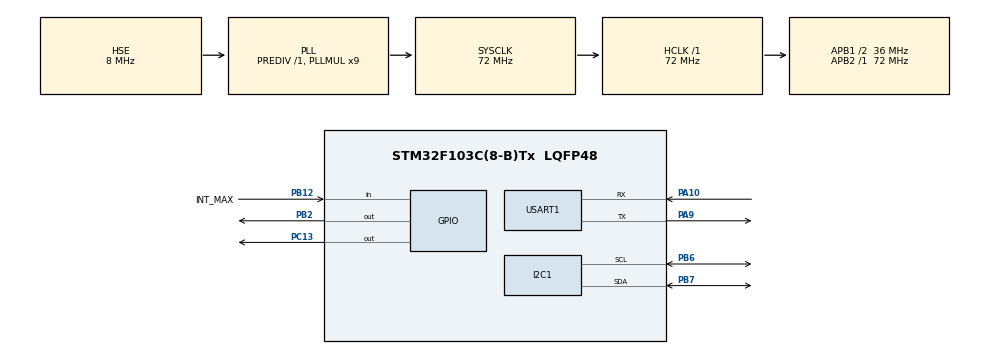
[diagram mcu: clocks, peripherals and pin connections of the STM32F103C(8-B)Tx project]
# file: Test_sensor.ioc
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FREERTOS.Tasks01=defaultTask,24,128,StartDefaultTask,Default,NULL,Dynamic,NULL,NULL;Sensor,24,128,Sensor_task,Default,NULL,Dynamic,NULL,NULL
FREERTOS.Timers01=Basic_timer,Timer_Callback,osTimerPeriodic,Default,NULL,Dynamic,NULL
FREERTOS.configUSE_NEWLIB_REENTRANT=1
I2C1.I2C_Mode=I2C_Fast
Mcu.Family=STM32F1
Mcu.Name=STM32F103C(8-B)Tx
Mcu.Package=LQFP48
NVIC.PriorityGroup=NVIC_PRIORITYGROUP_4
NVIC.TIM1_UP_IRQn=true\:15\:0\:false\:false\:true\:false\:false\:true\:true
NVIC.TimeBase=TIM1_UP_IRQn
NVIC.TimeBaseIP=TIM1
PA0-WKUP.Mode=SYS_WakeUp0
PA0-WKUP.Signal=SYS_WKUP
PA10.Mode=Asynchronous
PA10.Signal=USART1_RX
PA13.Mode=Serial_Wire
PA13.Signal=SYS_JTMS-SWDIO
PA14.Mode=Serial_Wire
PA14.Signal=SYS_JTCK-SWCLK
PA9.Mode=Asynchronous
PA9.Signal=USART1_TX
PB12.GPIO_Label=INT_MAX
PB12.GPIO_PuPd=GPIO_PULLUP
PB12.Signal=GPIO_Input
PB2.Signal=GPIO_Output
PB6.Mode=I2C
PB6.Signal=I2C1_SCL
PB7.Mode=I2C
PB7.Signal=I2C1_SDA
PC13-TAMPER-RTC.Signal=GPIO_Output
PD0-OSC_IN.Mode=HSE-External-Oscillator
PD0-OSC_IN.Signal=RCC_OSC_IN
PD1-OSC_OUT.Mode=HSE-External-Oscillator
PD1-OSC_OUT.Signal=RCC_OSC_OUT
ProjectManager.HeapSize=0x200
ProjectManager.StackSize=0x400
ProjectManager.TargetToolchain=STM32CubeIDE
RCC.AHBFreq_Value=72000000
RCC.APB1CLKDivider=RCC_HCLK_DIV2
RCC.APB1Freq_Value=36000000
RCC.APB1TimFreq_Value=72000000
RCC.APB2Freq_Value=72000000
RCC.APB2TimFreq_Value=72000000
RCC.HCLKFreq_Value=72000000
RCC.PLLMUL=RCC_PLL_MUL9
RCC.PLLSourceVirtual=RCC_PLLSOURCE_HSE
RCC.SYSCLKFreq_VALUE=72000000
RCC.SYSCLKSource=RCC_SYSCLKSOURCE_PLLCLK
RCC.USBFreq_Value=72000000
USART1.VirtualMode=VM_ASYNC
VP_FREERTOS_VS_CMSIS_V2.Mode=CMSIS_V2
VP_SYS_VS_tim1.Mode=TIM1
board=custom

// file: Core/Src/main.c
/* USER CODE BEGIN Header */
/**
  ******************************************************************************
  * @file           : main.c
  * @brief          : Main program body
  ******************************************************************************
  * @attention
  *
  * Copyright (c) 2023 STMicroelectronics.
  * All rights reserved.
  *
  * This software is licensed under terms that can be found in the LICENSE file
  * in the root directory of this software component.
  * If no LICENSE file comes with this software, it is provided AS-IS.
  *
  ******************************************************************************
  */
/* USER CODE END Header */
#include "main.h"
#include "cmsis_os.h"
#include "i2c.h"
#include "usart.h"
#include "gpio.h"

/* USER CODE BEGIN Includes */
#include "max30102.h"
/* USER CODE END Includes */

void SystemClock_Config(void);
void MX_FREERTOS_Init(void);

int main(void)
{

  /* MCU Configuration--------------------------------------------------------*/

  /* Reset of all peripherals, Initializes the Flash interface and the Systick. */
  HAL_Init();

  /* Configure the system clock */
  SystemClock_Config();

  /* Initialize all configured peripherals */
  MX_GPIO_Init();
  MX_I2C1_Init();
  MX_USART1_UART_Init();

  /* Init scheduler */
  osKernelInitialize();  /* Call init function for freertos objects (in freertos.c) */
  MX_FREERTOS_Init();

  /* Start scheduler */
  osKernelStart();
  /* We should never get here as control is now taken by the scheduler */
  /* Infinite loop */
  while (1)
  {

  }
}

void SystemClock_Config(void)
{
  RCC_OscInitTypeDef RCC_OscInitStruct = {0};
  RCC_ClkInitTypeDef RCC_ClkInitStruct = {0};

  /** Initializes the RCC Oscillators according to the specified parameters
  * in the RCC_OscInitTypeDef structure.
  */
  RCC_OscInitStruct.OscillatorType = RCC_OSCILLATORTYPE_HSE;
  RCC_OscInitStruct.HSEState = RCC_HSE_ON;
  RCC_OscInitStruct.HSEPredivValue = RCC_HSE_PREDIV_DIV1;
  RCC_OscInitStruct.HSIState = RCC_HSI_ON;
  RCC_OscInitStruct.PLL.PLLState = RCC_PLL_ON;
  RCC_OscInitStruct.PLL.PLLSource = RCC_PLLSOURCE_HSE;
  RCC_OscInitStruct.PLL.PLLMUL = RCC_PLL_MUL9;
  if (HAL_RCC_OscConfig(&RCC_OscInitStruct) != HAL_OK)
  {
    Error_Handler();
  }

  /** Initializes the CPU, AHB and APB buses clocks
  */
  RCC_ClkInitStruct.ClockType = RCC_CLOCKTYPE_HCLK|RCC_CLOCKTYPE_SYSCLK
                              |RCC_CLOCKTYPE_PCLK1|RCC_CLOCKTYPE_PCLK2;
  RCC_ClkInitStruct.SYSCLKSource = RCC_SYSCLKSOURCE_PLLCLK;
  RCC_ClkInitStruct.AHBCLKDivider = RCC_SYSCLK_DIV1;
  RCC_ClkInitStruct.APB1CLKDivider = RCC_HCLK_DIV2;
  RCC_ClkInitStruct.APB2CLKDivider = RCC_HCLK_DIV1;

  if (HAL_RCC_ClockConfig(&RCC_ClkInitStruct, FLASH_LATENCY_2) != HAL_OK)
  {
    Error_Handler();
  }
}

void HAL_TIM_PeriodElapsedCallback(TIM_HandleTypeDef *htim)
{
  if (htim->Instance == TIM1) {
    HAL_IncTick();
  }
}

void Error_Handler(void)
{
  __disable_irq();
  while (1)
  {
  }
}

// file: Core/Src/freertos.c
/* USER CODE BEGIN Header */
/**
  ******************************************************************************
  * File Name          : freertos.c
  * Description        : Code for freertos applications
  ******************************************************************************
  * @attention
  *
  * Copyright (c) 2023 STMicroelectronics.
  * All rights reserved.
  *
  * This software is licensed under terms that can be found in the LICENSE file
  * in the root directory of this software component.
  * If no LICENSE file comes with this software, it is provided AS-IS.
  *
  ******************************************************************************
  */
/* USER CODE END Header */

#include "FreeRTOS.h"
#include "task.h"
#include "main.h"
#include "cmsis_os.h"

/* USER CODE BEGIN Includes */
#include "i2c.h"
#include "max30102.h"
#include "usart.h"
#include "dht11.h"
#include <stdio.h>
#include <string.h>
#include <stdbool.h>
/* USER CODE END Includes */

/* USER CODE BEGIN Variables */

char *TxBuffer;
char str[80];
/* USER CODE END Variables */
/* Definitions for defaultTask */
osThreadId_t defaultTaskHandle;
const osThreadAttr_t defaultTask_attributes = {
  .name = "defaultTask",
  .stack_size = 128 * 4,
  .priority = (osPriority_t) osPriorityNormal,
};
/* Definitions for Sensor */
osThreadId_t SensorHandle;
const osThreadAttr_t Sensor_attributes = {
  .name = "Sensor",
  .stack_size = 128 * 4,
  .priority = (osPriority_t) osPriorityNormal,
};
/* Definitions for Basic_timer */
osTimerId_t Basic_timerHandle;
const osTimerAttr_t Basic_timer_attributes = {
  .name = "Basic_timer"
};

void StartDefaultTask(void *argument);
void Sensor_task(void *argument);
void Timer_Callback(void *argument);

void MX_FREERTOS_Init(void); /* (MISRA C 2004 rule 8.1) */

void MX_FREERTOS_Init(void) {

  /* Create the timer(s) */
  /* creation of Basic_timer */
  Basic_timerHandle = osTimerNew(Timer_Callback, osTimerPeriodic, NULL, &Basic_timer_attributes);

  /* Create the thread(s) */
  /* creation of defaultTask */
  defaultTaskHandle = osThreadNew(StartDefaultTask, NULL, &defaultTask_attributes);

  /* creation of Sensor */
  SensorHandle = osThreadNew(Sensor_task, NULL, &Sensor_attributes);

}

void StartDefaultTask(void *argument)
{
  /* USER CODE BEGIN StartDefaultTask */
	TxBuffer = "Default_here\r\n";
  /* Infinite loop */
  for(;;)
  {
	  HAL_GPIO_TogglePin(GPIOB, GPIO_PIN_2);
    		osDelay(1000);
  }
  /* USER CODE END StartDefaultTask */
}

void Sensor_task(void *argument)
{
  /* USER CODE BEGIN Sensor_task */
	DHT_DataTypedef DHT;
	uint32_t temp = 0;
	uint32_t humid = 0;
	char str[50];;
  /* Infinite loop */
  for(;;)
  {
	  DHT_GetData(&DHT);
	  temp = (uint32_t) DHT.Temperature;
	  sprintf(str, "temp: %ld\r\n", temp);
	  HAL_UART_Transmit(&huart1, (uint8_t*)str, strlen(str), 100);
	  HAL_UART_Transmit(&huart1, (uint8_t*) "vailz", 6, 10);

    osDelay(2000);
  }
  /* USER CODE END Sensor_task */
}

/* Timer_Callback function */
void Timer_Callback(void *argument)
{
}
